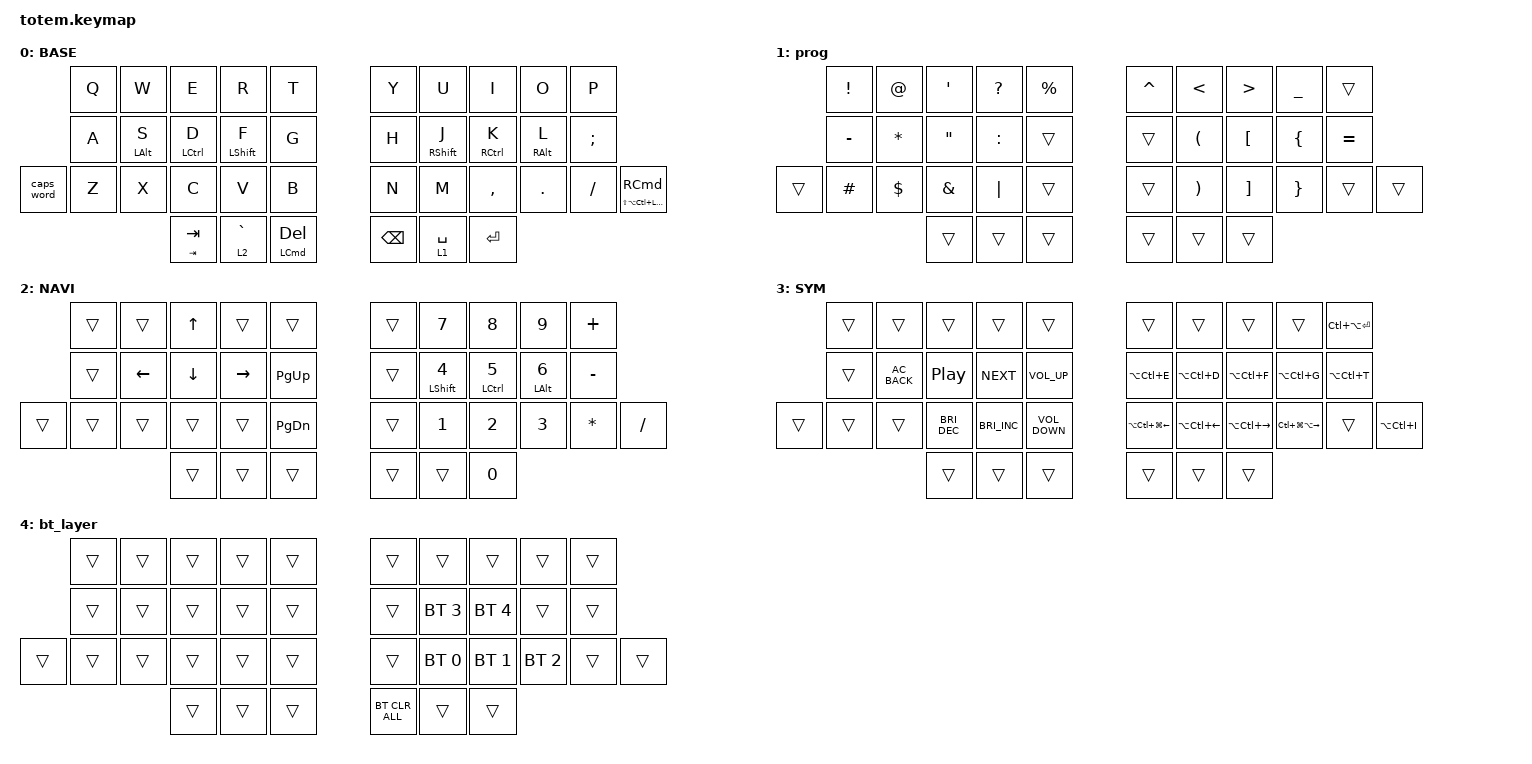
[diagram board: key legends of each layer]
//
//                                                        ▀▀▀▀▀     ▀▀▀▀▀          ▀▀█▀▀
//                                                        ▄▀▀▀▄  ▄  ▄▀▀▀▄  ▄  ▄▀▀▀▄  █  ▄▀▀▀▄
//                                                        █   █  █  █   █  █  █   █  █  █   █
//                                                         ▀▀▀   █   ▀▀▀   █   ▀▀▀   ▀   ▀▀▀
//                                                               █      ▄▄▄█▄▄▄    █   █  
//                                                               ▀      █  █  █     █▄█
//                                                             ▀▀▀▀▀    █  █  █      ▀
//                                                                      ▀  ▀  ▀
//
// ▄▄▄▄▄▄▄▄▄▄▄▄▄▄▄▄▄▄▄▄▄▄▄▄▄▄▄▄▄▄▄▄▄▄▄▄▄▄▄▄▄▄▄▄▄▄▄▄▄▄▄▄▄▄▄▄▄▄▄▄▄▄▄▄▄▄▄▄▄▄▄▄▄▄▄▄▄▄▄▄▄▄▄▄▄▄▄▄▄▄▄▄▄▄▄▄▄▄▄▄▄▄▄▄▄▄▄▄▄▄▄▄▄▄▄▄▄▄▄▄▄▄▄▄▄▄▄▄▄▄▄▄▄▄▄▄▄▄▄▄▄▄▄▄▄▄▄▄▄

#include <behaviors.dtsi>
#include <dt-bindings/zmk/bt.h>
#include <dt-bindings/zmk/keys.h>

#define BASE 0
#define NAV  1
#define SYM  2
#define ADJ  3
#define TVP1 4
#define TVP2 5

&mt {
    global-quick-tap;
    flavor = "tap-preferred";
};

/ {
    combos {
        compatible = "zmk,combos";

        combo_esc {
            timeout-ms = <50>;
            key-positions = <0 1>;
            bindings = <&kp ESC>;
        };

        combo_enter {
            timeout-ms = <100>;
            key-positions = <17 16 18>;
            bindings = <&kp LG(LS(T))>;
        };

        bluetooth_lock {
            bindings = <&lt 4 LG(LC(Q))>;
            key-positions = <20 31>;
        };

        layer_spotlight {
            bindings = <&lt 3 LG(SPACE)>;
            key-positions = <36 33>;
        };
    };

    keymap {
        compatible = "zmk,keymap";

        // ▄▄▄▄▄▄▄▄▄▄▄▄▄▄▄▄▄▄▄▄▄▄▄▄▄▄▄▄▄▄▄▄▄▄▄▄▄▄▄▄▄▄▄▄▄▄▄▄▄▄▄▄▄▄▄▄▄▄▄▄▄▄▄▄▄▄▄▄▄▄▄▄▄▄▄▄▄▄▄▄▄▄▄▄▄▄▄▄▄▄▄▄▄▄▄▄▄▄▄▄▄▄▄▄▄▄▄▄▄▄▄▄▄▄▄▄▄▄▄▄▄▄▄▄▄▄▄▄▄▄▄▄▄▄▄▄▄▄▄▄▄▄▄▄▄▄▄▄▄

        base_layer {
            label = "BASE";
            bindings = <
            &kp Q  &kp W       &kp E        &kp R        &kp T                      &kp Y          &kp U        &kp I        &kp O       &kp P
            &kp A  &mt LALT S  &mt LCTRL D  &mt LSHFT F  &kp G                      &kp H          &mt RSHFT J  &mt RCTRL K  &mt RALT L  &kp SEMICOLON
&caps_word  &kp Z  &kp X       &kp C        &kp V        &kp B                      &kp N          &kp M        &kp COMMA    &kp DOT     &kp FSLH       &mt LS(LA(LC(LEFT_GUI))) RIGHT_COMMAND
                               &mt TAB TAB  &lt 2 GRAVE  &mt LEFT_COMMAND DELETE    &kp BACKSPACE  &lt 1 SPACE  &kp ENTER
            >;
        };

        programming {
            bindings = <
        &kp EXCL   &kp AT_SIGN  &kp SINGLE_QUOTE   &kp QUESTION  &kp PERCENT    &kp CARET  &kp LT                 &kp GT             &kp UNDER        &trans
        &kp MINUS  &kp ASTRK    &kp DOUBLE_QUOTES  &kp COLON     &trans         &trans     &kp LEFT_PARENTHESIS   &kp LEFT_BRACKET   &kp LEFT_BRACE   &kp EQUAL
&trans  &kp HASH   &kp DOLLAR   &kp AMPS           &kp PIPE      &trans         &trans     &kp RIGHT_PARENTHESIS  &kp RIGHT_BRACKET  &kp RIGHT_BRACE  &trans     &trans
                                &trans             &trans        &trans         &trans     &trans                 &trans
            >;

            label = "prog";
        };

        nav_layer {
            bindings = <
        &trans  &trans    &kp UP    &trans     &trans           &trans  &kp N7                   &kp N8               &kp N9           &kp PLUS
        &trans  &kp LEFT  &kp DOWN  &kp RIGHT  &kp PAGE_UP      &trans  &mt LEFT_SHIFT NUMBER_4  &mt LEFT_CONTROL N5  &mt LEFT_ALT N6  &kp MINUS
&trans  &trans  &trans    &trans    &trans     &kp PAGE_DOWN    &trans  &kp N1                   &kp N2               &kp N3           &kp ASTERISK  &kp FSLH
                          &trans    &trans     &trans           &trans  &trans                   &kp N0
            >;

            label = "NAVI";
        };

        sim_layer {
            bindings = <
        &trans  &trans         &trans                &trans                &trans               &trans                &trans                  &trans                   &trans                 &kp LC(LA(ENTER))
        &trans  &kp C_AC_BACK  &kp C_PLAY_PAUSE      &kp C_NEXT            &kp C_VOLUME_UP      &kp LA(LC(E))         &kp LA(LC(D))           &kp LA(LC(F))            &kp LA(LC(G))          &kp LA(LC(T))
&trans  &trans  &trans         &kp C_BRIGHTNESS_DEC  &kp C_BRIGHTNESS_INC  &kp C_VOLUME_DOWN    &kp LA(LC(LG(LEFT)))  &kp LA(LC(LEFT_ARROW))  &kp LA(LC(RIGHT_ARROW))  &kp LC(LG(LA(RIGHT)))  &trans             &kp LA(LC(I))
                               &trans                &trans                &trans               &trans                &trans                  &trans
            >;

            label = "SYM";
        };

        BT_LAYER {
            bindings = <
        &trans  &trans  &trans  &trans  &trans    &trans          &trans        &trans        &trans        &trans
        &trans  &trans  &trans  &trans  &trans    &trans          &bt BT_SEL 3  &bt BT_SEL 4  &trans        &trans
&trans  &trans  &trans  &trans  &trans  &trans    &trans          &bt BT_SEL 0  &bt BT_SEL 1  &bt BT_SEL 2  &trans  &trans
                        &trans  &trans  &trans    &bt BT_CLR_ALL  &trans        &trans
            >;

            label = "bt_layer";
        };
    };
};
